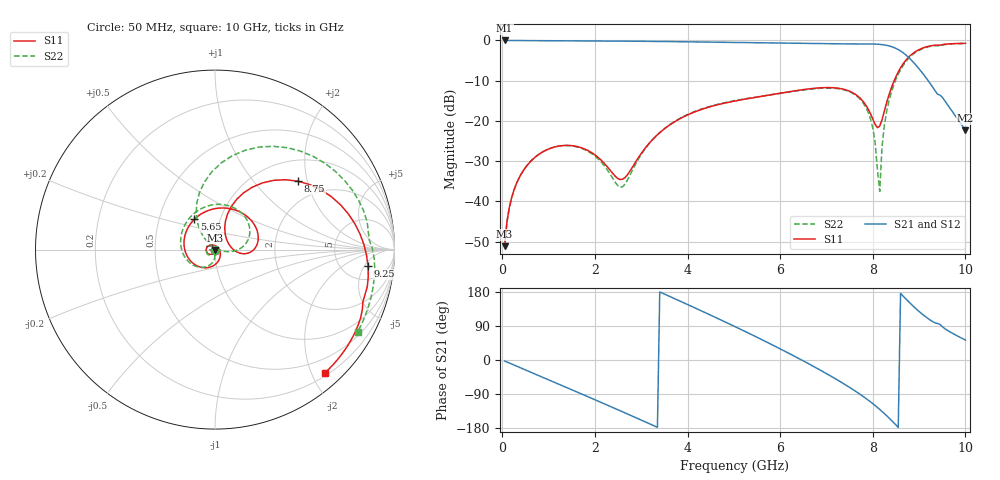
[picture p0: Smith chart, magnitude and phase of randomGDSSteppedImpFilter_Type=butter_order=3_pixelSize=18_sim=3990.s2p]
! freq	dB(S11)	phase(S11)	dB(S12)	phase(S12)
!  dB(S21)	phase(S21)	dB(S22)	phase(S22)
!S-par simulation data
#  GHz  S  DB  R 50
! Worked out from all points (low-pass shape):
!   200 points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, 50 MHz to 10 GHz, reference 50 ohm
!   highest |S21| = 0.00 dB at 50 MHz (marker M1); lowest = -22.3 dB at 10 GHz (marker M2)
!   |S21| within 3 dB of the highest: start of sweep to 8.648 GHz
!   lowest |S11| = -51.2 dB at 50 MHz (marker M3), VSWR 1.01, Z = 50 - j0.277 ohm
!   |S11| at or under -10 dB: start of sweep to 8.462 GHz
!   |S22| runs from -51.1 to -0.7 dB; largest |S21 - S12| = 0
!   S11 on the Smith chart (normalised r, x): 50 MHz: 1.00, -0.01; 5.65 GHz: 0.75, +0.27; 8.75 GHz: 1.47, +1.75; 9.25 GHz: 9, -6; 10 GHz: 0.24, -2.20
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0.05  -51.16 -91.2  -0.00 -2.7  -0.00 -2.7  -51.15 -90.7
0.2  -39.18 -101.2  -0.02 -10.6  -0.02 -10.6  -39.18 -99.1
0.55  -30.87 -121.8  -0.04 -28.8  -0.04 -28.8  -30.86 -116.1
1.2  -26.30 -161.1  -0.08 -62.8  -0.08 -62.8  -26.32 -146.6
1.75  -26.86 161.7  -0.12 -91.6  -0.12 -91.6  -27.00 -169.3
2.55  -34.59 50.4  -0.16 -134.2  -0.16 -134.2  -36.51 -140.1
3.4  -22.92 -78.3  -0.25 179.6  -0.25 179.6  -22.91 -100.3
4.35  -16.97 -145.6  -0.40 126.8  -0.40 126.8  -16.86 -140.4
5.05  -15.00 166.2  -0.50 86.6  -0.50 86.6  -14.90 -173.2
5.65  -13.80 124.2  -0.58 51.0  -0.58 51.0  -13.76 156.4
6.2  -12.74 86.6  -0.67 16.9  -0.67 16.9  -12.81 125.2
6.7  -11.94 54.2  -0.76 -15.5  -0.76 -15.5  -12.05 93.1
7.3  -11.96 17.5  -0.85 -57.2  -0.85 -57.2  -12.08 49.4
7.8  -15.29 -7.6  -0.85 -96.8  -0.85 -96.8  -15.67 8.1
8  -19.53 -1.4  -0.88 -115.1  -0.88 -115.1  -21.75 -8.4
8.15  -21.31 41.7  -0.97 -130.3  -0.97 -130.3  -37.52 109.8
8.2  -19.69 56.8  -1.03 -135.7  -1.03 -135.7  -26.39 134.0
8.35  -13.54 70.6  -1.35 -153.0  -1.35 -153.0  -15.04 123.4
8.75  -4.46 39.6  -3.96 156.7  -3.96 156.7  -4.76 73.1
8.95  -2.58 19.6  -6.37 133.3  -6.37 133.3  -2.78 49.1
9.25  -1.34 -6.1  -10.87 104.6  -10.87 104.6  -1.45 19.0
10  -0.72 -48.4  -22.30 52.6  -22.30 52.6  -0.75 -30.0
